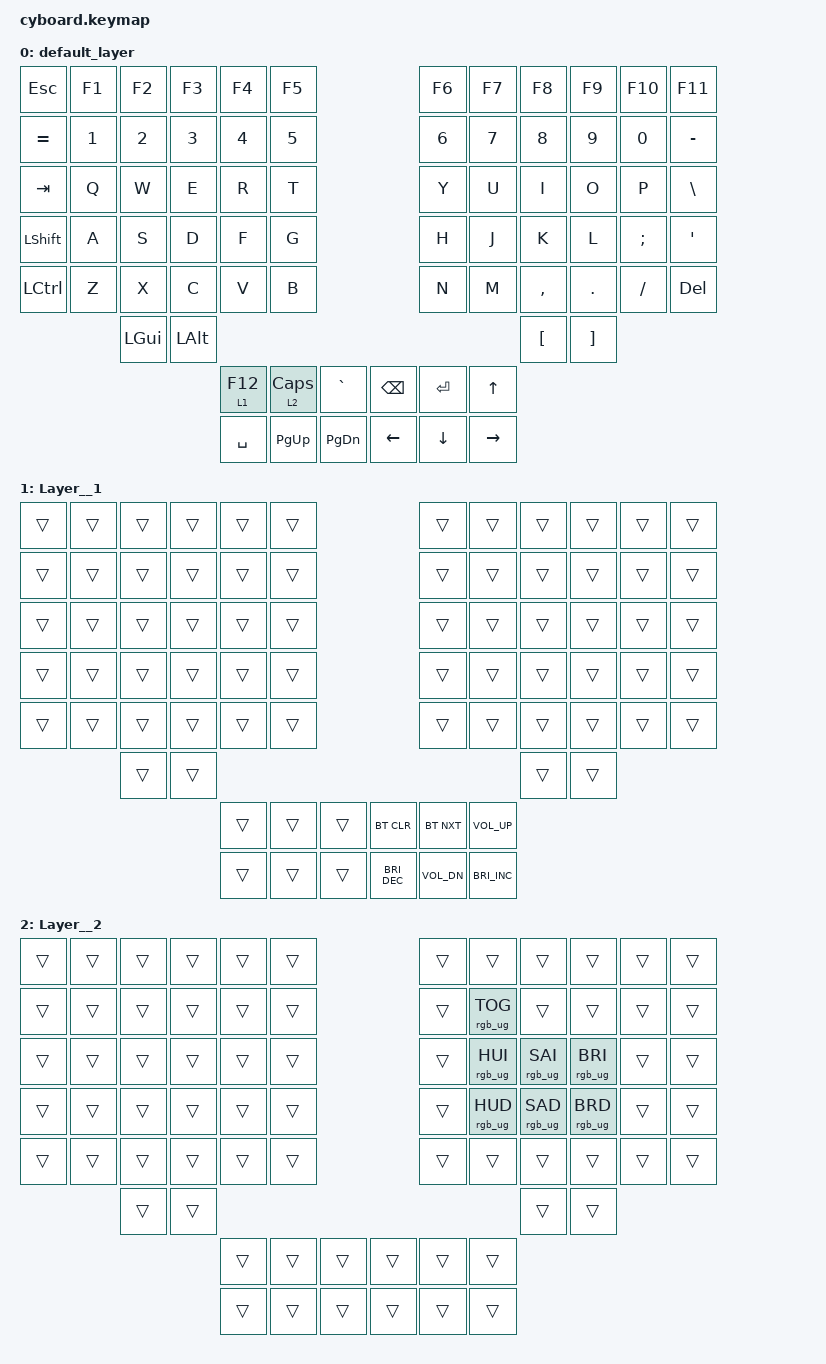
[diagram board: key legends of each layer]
#include <behaviors.dtsi>
#include <dt-bindings/zmk/bt.h>
#include <dt-bindings/zmk/keys.h>
#include <dt-bindings/zmk/rgb.h>

/ {
    keymap {
        compatible = "zmk,keymap";

        default_layer {
            bindings = <
&kp ESC     &kp F1  &kp F2    &kp F3    &kp F4             &kp F5                                                           &kp F6        &kp F7  &kp F8     &kp F9    &kp F10   &kp F11
&kp EQUAL   &kp N1  &kp N2    &kp N3    &kp N4             &kp N5                                                           &kp N6        &kp N7  &kp N8     &kp N9    &kp N0    &kp MINUS
&kp TAB     &kp Q   &kp W     &kp E     &kp R              &kp T                                                            &kp Y         &kp U   &kp I      &kp O     &kp P     &kp BSLH
&kp LSHIFT  &kp A   &kp S     &kp D     &kp F              &kp G                                                            &kp H         &kp J   &kp K      &kp L     &kp SEMI  &kp SQT
&kp LCTRL   &kp Z   &kp X     &kp C     &kp V              &kp B                                                            &kp N         &kp M   &kp COMMA  &kp DOT   &kp FSLH  &kp DELETE
                    &kp LGUI  &kp LALT                                                                                                            &kp LBKT   &kp RBKT
                                                &lt 1 F12          &lt 2 CAPSLOCK  &kp GRAVE      &kp BACKSPACE  &kp ENTER  &kp UP_ARROW
                                                &kp SPACE          &kp PAGE_UP     &kp PAGE_DOWN  &kp LEFT       &kp DOWN   &kp RIGHT
            >;
        };

        Layer__1 {
            bindings = <
&trans  &trans  &trans  &trans  &trans          &trans                                                      &trans                &trans  &trans  &trans  &trans  &trans
&trans  &trans  &trans  &trans  &trans          &trans                                                      &trans                &trans  &trans  &trans  &trans  &trans
&trans  &trans  &trans  &trans  &trans          &trans                                                      &trans                &trans  &trans  &trans  &trans  &trans
&trans  &trans  &trans  &trans  &trans          &trans                                                      &trans                &trans  &trans  &trans  &trans  &trans
&trans  &trans  &trans  &trans  &trans          &trans                                                      &trans                &trans  &trans  &trans  &trans  &trans
                &trans  &trans                                                                                                            &trans  &trans
                                        &trans          &trans  &trans  &bt BT_CLR            &bt BT_NXT    &kp C_VOLUME_UP
                                        &trans          &trans  &trans  &kp C_BRIGHTNESS_DEC  &kp C_VOL_DN  &kp C_BRIGHTNESS_INC
            >;
        };

        Layer__2 {
            bindings = <
&trans  &trans  &trans  &trans  &trans          &trans                                  &trans  &trans           &trans           &trans           &trans  &trans
&trans  &trans  &trans  &trans  &trans          &trans                                  &trans  &rgb_ug RGB_TOG  &trans           &trans           &trans  &trans
&trans  &trans  &trans  &trans  &trans          &trans                                  &trans  &rgb_ug RGB_HUI  &rgb_ug RGB_SAI  &rgb_ug RGB_BRI  &trans  &trans
&trans  &trans  &trans  &trans  &trans          &trans                                  &trans  &rgb_ug RGB_HUD  &rgb_ug RGB_SAD  &rgb_ug RGB_BRD  &trans  &trans
&trans  &trans  &trans  &trans  &trans          &trans                                  &trans  &trans           &trans           &trans           &trans  &trans
                &trans  &trans                                                                                   &trans           &trans
                                        &trans          &trans  &trans  &trans  &trans  &trans
                                        &trans          &trans  &trans  &trans  &trans  &trans
            >;
        };
    };
};
